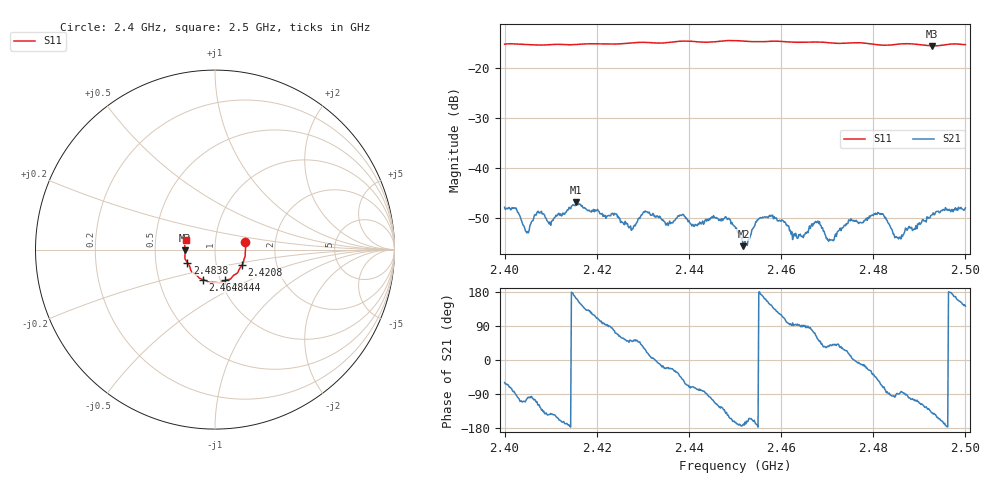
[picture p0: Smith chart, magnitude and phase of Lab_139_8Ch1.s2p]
# Hz S RI R 50
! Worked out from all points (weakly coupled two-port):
!   601 points, 2.4 GHz to 2.5 GHz, reference 50 ohm
!   highest |S21| = -46.78 dB at 2.4155 GHz (marker M1); lowest = -55.5 dB at 2.4518 GHz (marker M2)
!   lowest |S11| = -15.6 dB at 2.4928 GHz (marker M3), VSWR 1.40, Z = 35.8 - j0.336 ohm
!   |S11| at or under -10 dB: start of sweep to end of sweep
!   S12 and S22 are empty: the file has one direction only
!   S11 on the Smith chart (normalised r, x): 2.4 GHz: 1.40, +0.12; 2.4208 GHz: 1.33, -0.24; 2.444 GHz: 1.06, -0.37; 2.4648 GHz: 0.83, -0.29; 2.4838 GHz: 0.73, -0.11; 2.5 GHz: 0.72, +0.08
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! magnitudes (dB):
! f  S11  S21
! 2.4 GHz  -15.3  -47.8
! 2.4048 GHz  -15.4  -52.9
! 2.407 GHz  -15.4  -48.9
! 2.41 GHz  -15.3  -51.4
! 2.4155 GHz  -15.3  -46.8
! 2.4167 GHz  -15.2  -47.6
! 2.4208 GHz  -15.2  -49.1
! 2.4273 GHz  -15.0  -51.5
! 2.4333 GHz  -15.0  -49.7
! 2.444 GHz  -14.9  -50.1
! 2.45 GHz  -14.5  -51.7
! 2.4518 GHz  -14.6  -55.5
! 2.4577 GHz  -14.7  -49.6
! 2.4648 GHz  -14.9  -53.8
! 2.4667 GHz  -14.8  -51.1
! 2.4708 GHz  -15.0  -54.3
! 2.4752 GHz  -15.0  -50.1
! 2.4833 GHz  -15.5  -51.0
! 2.4838 GHz  -15.4  -51.9
! 2.4858 GHz  -15.2  -53.8
! 2.4928 GHz  -15.6  -49.3
! 2.5 GHz  -15.4  -47.9
